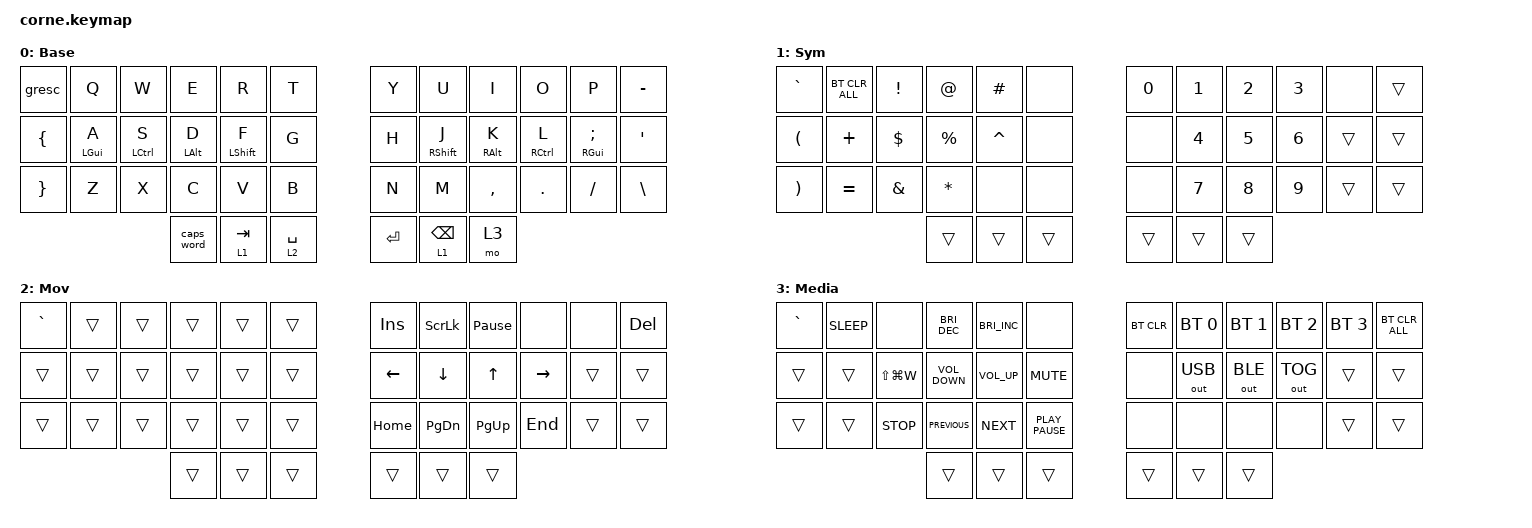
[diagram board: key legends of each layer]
/*
 * Copyright (c) 2020 The ZMK Contributors
 *
 * SPDX-License-Identifier: MIT
 */

#include <behaviors.dtsi>
#include <dt-bindings/zmk/bt.h>
#include <dt-bindings/zmk/keys.h>
#include <dt-bindings/zmk/outputs.h>

#include "zmk-helpers/helper.h"
#include "zmk-helpers/key-labels/42.h"

&mt {
  flavor = "balanced";
  quick-tap-ms = <175>;
};

&lt {
  flavor = "balanced";
  tapping-term-ms = <200>;
  quick-tap-ms = <175>;
};

#define KEYS_L LT0 LT1 LT2 LT3 LT4 LM0 LM1 LM2 LM3 LM4 LB0 LB1 LB2 LB3 LB4
#define KEYS_R RT0 RT1 RT2 RT3 RT4 RM0 RM1 RM2 RM3 RM4 RB0 RB1 RB2 RB3 RB4
#define THUMBS LH2 LH1 LH0 RH0 RH1 RH2

#define MAKE_HRM(NAME, HOLD, TAP, TRIGGER_POS)                                 \
  ZMK_HOLD_TAP(NAME, bindings = <HOLD>, <TAP>; flavor = "balanced";            \
               tapping-term-ms = <280>; quick-tap-ms = <175>;                  \
               require-prior-idle-ms = <150>; hold-trigger-on-release;         \
               hold-trigger-key-positions = <TRIGGER_POS>;)

MAKE_HRM(hml, &kp, &kp, KEYS_R THUMBS) // Left-hand HRMs.
MAKE_HRM(hmr, &kp, &kp, KEYS_L THUMBS) // Right-hand HRMs.

/ {
    keymap {
        compatible = "zmk,keymap";

        default_layer {

            display-name = "Base";
            bindings = <
&gresc    &kp Q        &kp W         &kp E         &kp R         &kp T          &kp Y    &kp U         &kp I        &kp O         &kp P           &kp MINUS
&kp LBRC  &hml LGUI A  &hml LCTRL S  &hml LALT D   &hml LSHFT F  &kp G          &kp H    &hmr RSHFT J  &hmr RALT K  &hmr RCTRL L  &hmr RGUI SEMI  &kp SQT
&kp RBRC  &kp Z        &kp X         &kp C         &kp V         &kp B          &kp N    &kp M         &kp COMMA    &kp DOT       &kp  FSLH       &kp BSLH
                                     &caps_word    &lt 1 TAB     &lt 2 SPACE    &kp RET  &lt 1 BSPC    &mo 3
            >;
        };

        raise_layer {

            display-name = "Sym";
            bindings = <
&kp GRAVE  &bt BT_CLR_ALL  &kp EXCLAMATION  &kp AT_SIGN   &kp POUND  &none    &kp N0  &kp N1  &kp N2  &kp N3  &none   &trans
&kp LPAR   &kp PLUS        &kp DOLLAR       &kp PERCENT   &kp CARET  &none    &none   &kp N4  &kp N5  &kp N6  &trans  &trans
&kp RPAR   &kp EQUAL       &kp AMPERSAND    &kp ASTERISK  &none      &none    &none   &kp N7  &kp N8  &kp N9  &trans  &trans
                           &trans           &trans        &trans     &trans   &trans  &trans
            >;
        };

        lower_layer {

            display-name = "Mov";
            bindings = <
&kp GRAVE  &trans  &trans  &trans   &trans   &trans     &kp INSERT  &kp SCROLLLOCK  &kp PAUSE_BREAK  &none      &none   &kp DELETE
&trans     &trans  &trans  &trans   &trans   &trans     &kp LEFT    &kp DOWN        &kp UP           &kp RIGHT  &trans  &trans
&trans     &trans  &trans  &trans   &trans   &trans     &kp HOME    &kp PAGE_DOWN   &kp PAGE_UP      &kp END    &trans  &trans
                          &trans  &trans  &trans    &trans      &trans          &trans
            >;
        };

        layer_3 {

            display-name = "Media";
            bindings = <
&kp GRAVE  &kp K_SLEEP  &none          &kp C_BRIGHTNESS_DEC  &kp C_BRIGHTNESS_INC  &none               &bt BT_CLR  &bt BT_SEL 0  &bt BT_SEL 1  &bt BT_SEL 2  &bt BT_SEL 3  &bt BT_CLR_ALL
&trans     &trans       &kp LS(LG(W))  &kp K_VOLUME_DOWN     &kp K_VOLUME_UP       &kp K_MUTE          &none       &out OUT_USB  &out OUT_BLE  &out OUT_TOG  &trans        &trans
&trans     &trans       &kp K_STOP     &kp K_PREVIOUS        &kp K_NEXT            &kp K_PLAY_PAUSE    &none       &none         &none         &none         &trans        &trans
                                       &trans                &trans                &trans              &trans      &trans        &trans
            >;
        };

    };
};
